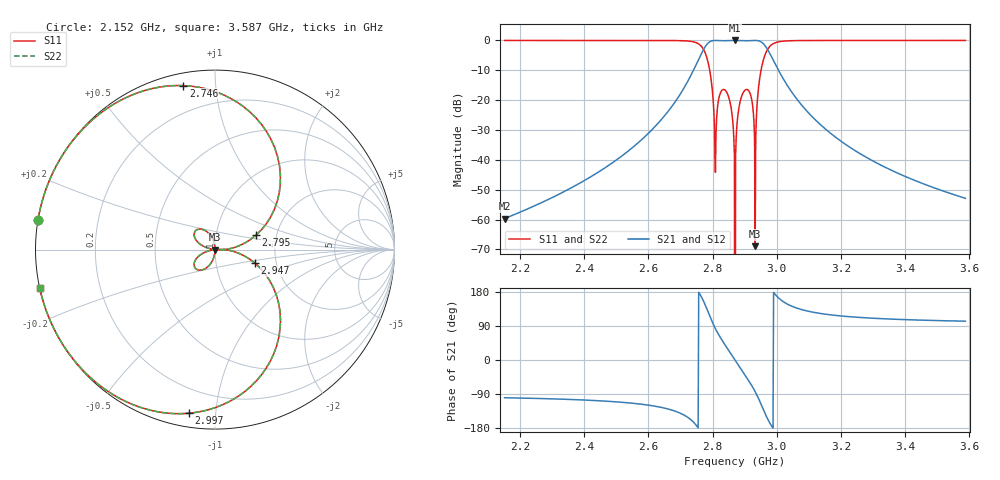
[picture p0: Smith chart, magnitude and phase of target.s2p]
! Created with skrf 1.12.0 (http://scikit-rf.org).
! Data is not renormalized
! S-parameter uses the power definition
# Hz S RI R
!freq ReS11 ImS11 ReS21 ImS21 ReS12 ImS12 ReS22 ImS22
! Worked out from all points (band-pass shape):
!   801 points, 2.152 GHz to 3.587 GHz, reference per port
!   highest |S21| = 0.00 dB at 2.87 GHz (marker M1); lowest = -59.7 dB at 2.152 GHz (marker M2)
!   |S21| within 3 dB of the highest: 2.772 GHz to 2.971 GHz (199.2 MHz wide, 6.94 % of centre)
!   lowest |S11| = -68.9 dB at 2.933 GHz (marker M3), VSWR 1.00
!   |S11| at or under -10 dB: 2.791 GHz to 2.951 GHz (159.8 MHz wide, 5.57 % of centre)
!   |S22| runs from - to 0.0 dB; largest |S21 - S12| = 0
!   S11 on the Smith chart (normalised r, x): 2.152 GHz: 0.00, +0.08; 2.746 GHz: 0.06, +0.82; 2.795 GHz: 1.56, +0.26; 2.947 GHz: 1.55, -0.25; 2.997 GHz: 0.07, -0.85; 3.587 GHz: 0.00, -0.11
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2.1525e9  -0.9861 0.1661  -0.000172 -0.00102  -0.000172 -0.00102  -0.9861 0.1661
! Port Impedance 50.00000000000000 0.00000000000000 50.00000000000000 0.00000000000000
2.392862e9  -0.9643 0.2646  -0.00112 -0.0041  -0.00112 -0.0041  -0.9643 0.2646
2.631431e9  -0.8327 0.5522  -0.023 -0.0346  -0.023 -0.0346  -0.8327 0.5522
2.703181e9  -0.6122 0.779  -0.1066 -0.0838  -0.1066 -0.0838  -0.6122 0.779
2.746231e9  -0.1767 0.9137  -0.3593 -0.0695  -0.3593 -0.0695  -0.1767 0.9137
2.774931e9  0.3317 0.57  -0.6497 0.378  -0.6497 0.378  0.3317 0.57
2.794662e9  0.2276 0.0797  -0.3206 0.916  -0.3206 0.916  0.2276 0.0797
2.809012e9  -0.0061 0.000776  0.1261 0.992  0.1261 0.992  -0.0061 0.000776
2.82695e9  -0.1162 0.0789  0.5562 0.8191  0.5562 0.8191  -0.1162 0.0789
2.848475e9  -0.0558 0.1066  0.8797 0.46  0.8797 0.46  -0.0558 0.1066
2.87e9  0 0  1 -0  1 -0  0 0
2.875381e9  -0.00408 -0.0338  0.9922 -0.1199  0.9922 -0.1199  -0.00408 -0.0338
2.88435e9  -0.0271 -0.0818  0.9458 -0.3131  0.9458 -0.3131  -0.0271 -0.0818
2.900494e9  -0.0913 -0.1138  0.7717 -0.6191  0.7717 -0.6191  -0.0913 -0.1138
2.918431e9  -0.1083 -0.0571  0.4626 -0.8781  0.4626 -0.8781  -0.1083 -0.0571
2.932781e9  -0.000355 -4.04e-05  0.1131 -0.9936  0.1131 -0.9936  -0.000355 -4.04e-05
2.947131e9  0.2237 -0.0763  -0.3137 -0.9196  -0.3137 -0.9196  0.2237 -0.0763
2.966862e9  0.3444 -0.5333  -0.6491 -0.4191  -0.6491 -0.4191  0.3444 -0.5333
2.997356e9  -0.1462 -0.9118  -0.379 0.0608  -0.379 0.0608  -0.1462 -0.9118
3.110362e9  -0.8024 -0.5944  -0.0314 0.0424  -0.0314 0.0424  -0.8024 -0.5944
3.348931e9  -0.9501 -0.312  -0.00219 0.00667  -0.00219 0.00667  -0.9501 -0.312
3.5875e9  -0.9766 -0.2152  -0.000488 0.00221  -0.000488 0.00221  -0.9766 -0.2152
